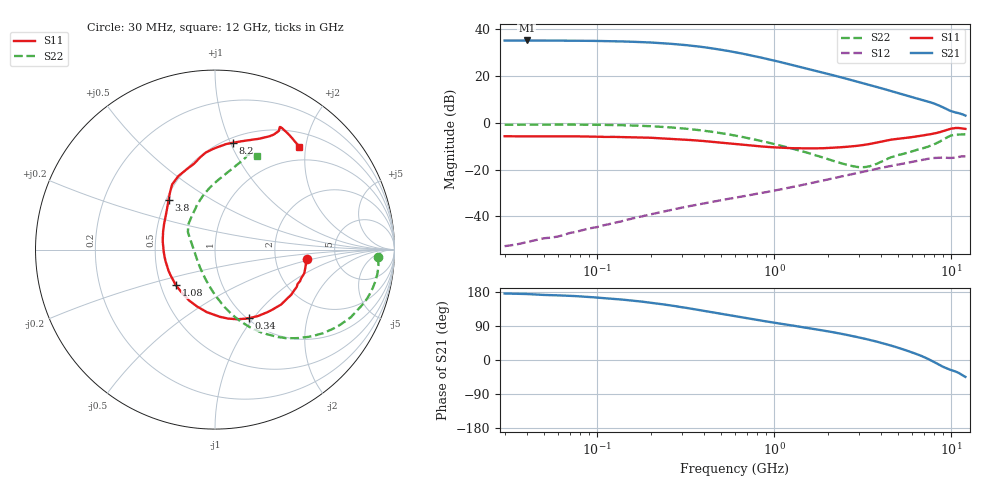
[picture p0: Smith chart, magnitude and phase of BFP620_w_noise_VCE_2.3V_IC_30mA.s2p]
! Infineon Technologies  Discrete & RF Semiconductors
! BFP620
! VCE =  2.3 V,  IC =  30 mA
! Common Emitter S-Parameters:  Nov 2015
# GHz  S  MA  R  50
!  f  S11  S21  S12  S22
! GHz  MAG  ANG  MAG  ANG  MAG  ANG  MAG  ANG
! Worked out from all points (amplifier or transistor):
!   239 points, 30 MHz to 12 GHz, reference 50 ohm
!   highest |S21| = 35.2 dB at 40 MHz (marker M1)
!   |S21| within 3 dB of that: start of sweep to 411.3 MHz
!   unconditionally stable (mu >= 1): 2.419 GHz to end of sweep
!   at 300 MHz: K = 0.42, MSG = 34.9 dB, |S12| = -36.3 dB
!   at 1.88 GHz: K = 0.96, MSG = 23.1 dB, |S12| = -24.7 dB
!   at 12 GHz: K = 1.09, MAG = 6.9 dB, |S12| = -14.4 dB
!   lowest NFmin = 1.15 dB at 450 MHz
!   S11 on the Smith chart (normalised r, x): 30 MHz: 3.05, -0.43; 340 MHz: 1.02, -0.95; 1.08 GHz: 0.60, -0.26; 3.8 GHz: 0.52, +0.33; 8.2 GHz: 0.55, +1.02; 12 GHz: 0.74, +1.88
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0.03  0.5146 -5.8  57.44 175.5  0.0023 52.9  0.9084 -2.7
0.04  0.5121 -8.3  57.58 174.1  0.0028 58.5  0.9121 -4.2
0.05  0.5131 -9.6  57.37 171.7  0.0034 60.8  0.915 -5.6
0.07  0.5147 -14.7  57.17 169.5  0.0044 65.7  0.9146 -8.7
0.085  0.5084 -17.4  56.65 167.1  0.0052 67.2  0.9108 -10.9
0.12  0.5007 -24.6  55.66 162.0  0.007 69.5  0.8971 -16.0
0.15  0.4935 -30.6  54.42 157.8  0.0086 69.7  0.8803 -20.0
0.195  0.4796 -38.9  52.28 151.9  0.0108 69.0  0.8484 -25.8
0.24  0.4617 -46.8  49.93 146.3  0.0128 67.7  0.8128 -31.1
0.3  0.4406 -57.3  46.76 139.3  0.0153 66.3  0.7625 -37.6
0.34  0.4265 -63.6  44.53 135.3  0.0168 65.3  0.7276 -41.4
0.4  0.4068 -72.5  41.36 129.6  0.0189 64.0  0.6774 -46.7
0.45  0.3908 -79.4  38.8 125.5  0.0206 63.0  0.6378 -50.8
0.6  0.3514 -97.5  32.29 115.4  0.025 61.1  0.5333 -60.5
0.8  0.3181 -117.0  25.83 105.6  0.0304 59.8  0.4267 -70.2
1.08  0.2938 -137.8  19.91 96.0  0.0376 58.6  0.3269 -80.3
1.64  0.2831 -167.3  13.49 82.6  0.052 55.9  0.2128 -97.2
2.4  0.3011 165.1  9.286 68.9  0.0711 50.2  0.135 -125.9
3.8  0.3787 133.1  5.821 48.3  0.104 37.0  0.1334 166.0
4.5  0.4343 123.4  4.845 38.7  0.1185 30.4  0.1796 147.2
8.2  0.603 80.6  2.48 -8.1  0.1777 -7.5  0.3628 91.6
12  0.7407 50.6  1.427 -44.5  0.1911 -38.2  0.5701 65.5
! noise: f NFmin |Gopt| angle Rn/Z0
0.45  1.15  0.14  -158  0.1
0.9  1.15  0.17  -148  0.1
1.9  1.16  0.21  -139  0.11
2.4  1.18  0.22  -136  0.11
3.5  1.23  0.3  -99  0.17
5.5  1.48  0.33  -84  0.22
10  1.86  0.62  -46  0.9
